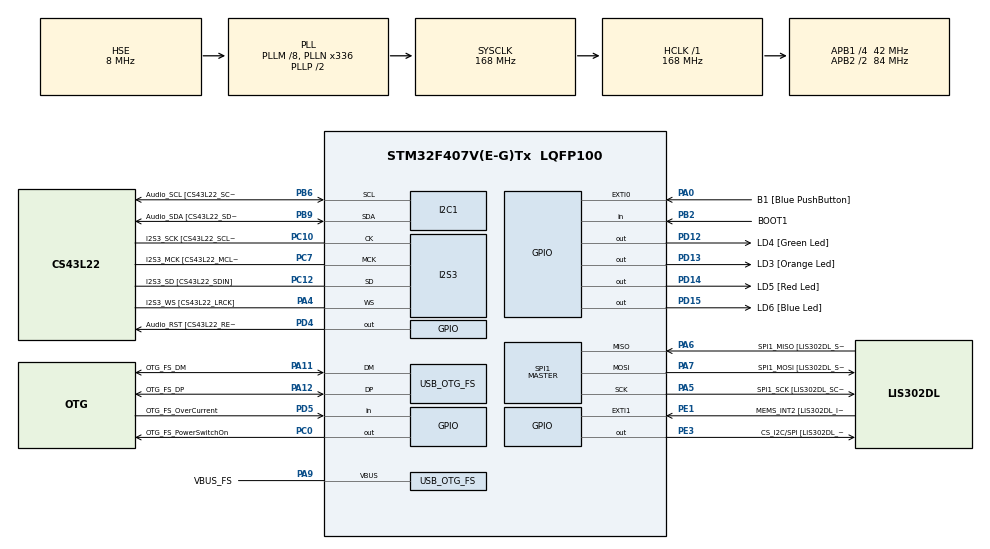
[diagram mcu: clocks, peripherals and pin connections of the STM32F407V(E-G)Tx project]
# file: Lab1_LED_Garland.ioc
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I2S3.AudioFreq-Half_Duplex_Master=I2S_AUDIOFREQ_96K
I2S3.ErrorAudioFreq=-2.34 %
I2S3.ErrorAudioFreq-Half_Duplex_Master=0.8 %
I2S3.FullDuplexMode=I2S_FULLDUPLEXMODE_DISABLE
I2S3.Instance=SPI$Index
I2S3.RealAudioFreq=93.75 KHz
I2S3.RealAudioFreq-Half_Duplex_Master=96.774 KHz
I2S3.VirtualMode=I2S_MODE_MASTER
Mcu.Family=STM32F4
Mcu.Name=STM32F407V(E-G)Tx
Mcu.Package=LQFP100
NVIC.OTG_FS_IRQn=true\:0\:0\:false\:false\:true\:true\:true\:true
NVIC.PriorityGroup=NVIC_PRIORITYGROUP_0
PA0-WKUP.GPIO_Label=B1 [Blue PushButton]
PA0-WKUP.GPIO_ModeDefaultEXTI=GPIO_MODE_EVT_RISING
PA0-WKUP.GPIO_PuPd=GPIO_NOPULL
PA0-WKUP.Signal=GPXTI0
PA10.GPIO_Label=OTG_FS_ID
PA10.GPIO_Mode=GPIO_MODE_AF_PP
PA10.GPIO_PuPd=GPIO_NOPULL
PA10.GPIO_Speed=GPIO_SPEED_FREQ_LOW
PA10.Signal=USB_OTG_FS_ID
PA11.GPIO_Label=OTG_FS_DM
PA11.GPIO_Mode=GPIO_MODE_AF_PP
PA11.GPIO_PuPd=GPIO_NOPULL
PA11.GPIO_Speed=GPIO_SPEED_FREQ_LOW
PA11.Mode=Host_Only
PA11.Signal=USB_OTG_FS_DM
PA12.GPIO_Label=OTG_FS_DP
PA12.GPIO_Mode=GPIO_MODE_AF_PP
PA12.GPIO_PuPd=GPIO_NOPULL
PA12.GPIO_Speed=GPIO_SPEED_FREQ_LOW
PA12.Mode=Host_Only
PA12.Signal=USB_OTG_FS_DP
PA13.GPIO_Label=SWDIO
PA13.Mode=Serial_Wire
PA13.Signal=SYS_JTMS-SWDIO
PA14.GPIO_Label=SWCLK
PA14.Mode=Serial_Wire
PA14.Signal=SYS_JTCK-SWCLK
PA4.GPIO_Label=I2S3_WS [CS43L22_LRCK]
PA4.GPIO_Mode=GPIO_MODE_AF_PP
PA4.GPIO_PuPd=GPIO_NOPULL
PA4.GPIO_Speed=GPIO_SPEED_FREQ_LOW
PA4.Mode=Half_Duplex_Master
PA4.Signal=I2S3_WS
PA5.GPIO_Label=SPI1_SCK [LIS302DL_SCL/SPC]
PA5.GPIO_Mode=GPIO_MODE_AF_PP
PA5.GPIO_PuPd=GPIO_NOPULL
PA5.GPIO_Speed=GPIO_SPEED_FREQ_LOW
PA5.Mode=Full_Duplex_Master
PA5.Signal=SPI1_SCK
PA6.GPIO_Label=SPI1_MISO [LIS302DL_SDO]
PA6.GPIO_Mode=GPIO_MODE_AF_PP
PA6.GPIO_PuPd=GPIO_NOPULL
PA6.GPIO_Speed=GPIO_SPEED_FREQ_LOW
PA6.Mode=Full_Duplex_Master
PA6.Signal=SPI1_MISO
PA7.GPIO_Label=SPI1_MOSI [LIS302DL_SDA/SDI/SDO]
PA7.GPIO_Mode=GPIO_MODE_AF_PP
PA7.GPIO_PuPd=GPIO_NOPULL
PA7.GPIO_Speed=GPIO_SPEED_FREQ_LOW
PA7.Mode=Full_Duplex_Master
PA7.Signal=SPI1_MOSI
PA9.GPIO_Label=VBUS_FS
PA9.GPIO_Mode=GPIO_MODE_INPUT
PA9.GPIO_PuPd=GPIO_NOPULL
PA9.Mode=Activate_VBUS
PA9.Signal=USB_OTG_FS_VBUS
PB10.GPIO_Label=CLK_IN [MP45DT02_CLK]
PB10.GPIO_Mode=GPIO_MODE_AF_PP
PB10.GPIO_PuPd=GPIO_NOPULL
PB10.GPIO_Speed=GPIO_SPEED_FREQ_LOW
PB10.Signal=I2S2_CK
PB2.GPIO_Label=BOOT1
PB2.GPIO_Mode=GPIO_MODE_INPUT
PB2.GPIO_PuPd=GPIO_NOPULL
PB2.Signal=GPIO_Input
PB3.GPIO_Label=SWO
PB3.Signal=SYS_JTDO-SWO
PB6.GPIO_Label=Audio_SCL [CS43L22_SCL]
PB6.GPIO_Mode=GPIO_MODE_AF_OD
PB6.GPIO_Pu=GPIO_PULLUP
PB6.GPIO_PuPd=GPIO_NOPULL
PB6.GPIO_Speed=GPIO_SPEED_FREQ_LOW
PB6.Mode=I2C
PB6.Signal=I2C1_SCL
PB9.GPIO_Label=Audio_SDA [CS43L22_SDA]
PB9.GPIO_Mode=GPIO_MODE_AF_OD
PB9.GPIO_Pu=GPIO_PULLUP
PB9.GPIO_PuPd=GPIO_NOPULL
PB9.GPIO_Speed=GPIO_SPEED_FREQ_LOW
PB9.Mode=I2C
PB9.Signal=I2C1_SDA
PC0.GPIO_Label=OTG_FS_PowerSwitchOn
PC0.GPIO_PuPd=GPIO_NOPULL
PC0.GPIO_Speed=GPIO_SPEED_FREQ_LOW
PC0.PinState=GPIO_PIN_SET
PC0.Signal=GPIO_Output
PC10.GPIO_Label=I2S3_SCK [CS43L22_SCLK]
PC10.GPIO_Mode=GPIO_MODE_AF_PP
PC10.GPIO_PuPd=GPIO_NOPULL
PC10.GPIO_Speed=GPIO_SPEED_FREQ_LOW
PC10.Mode=Half_Duplex_Master
PC10.Signal=I2S3_CK
PC12.GPIO_Label=I2S3_SD [CS43L22_SDIN]
PC12.GPIO_Mode=GPIO_MODE_AF_PP
PC12.GPIO_PuPd=GPIO_NOPULL
PC12.GPIO_Speed=GPIO_SPEED_FREQ_LOW
PC12.Mode=Half_Duplex_Master
PC12.Signal=I2S3_SD
PC14-OSC32_IN.GPIO_Label=PC14-OSC32_IN
PC14-OSC32_IN.Mode=LSE-External-Oscillator
PC14-OSC32_IN.Signal=RCC_OSC32_IN
PC15-OSC32_OUT.GPIO_Label=PC15-OSC32_OUT
PC15-OSC32_OUT.Mode=LSE-External-Oscillator
PC15-OSC32_OUT.Signal=RCC_OSC32_OUT
PC3.GPIO_Label=PDM_OUT [MP45DT02_DOUT]
PC3.GPIO_Mode=GPIO_MODE_AF_PP
PC3.GPIO_PuPd=GPIO_NOPULL
PC3.GPIO_Speed=GPIO_SPEED_FREQ_LOW
PC3.Signal=I2S2_SD
PC7.GPIO_Label=I2S3_MCK [CS43L22_MCLK]
PC7.GPIO_Mode=GPIO_MODE_AF_PP
PC7.GPIO_PuPd=GPIO_NOPULL
PC7.GPIO_Speed=GPIO_SPEED_FREQ_LOW
PC7.Mode=Master_Clock_Activated
PC7.Signal=I2S3_MCK
PD12.GPIO_Label=LD4 [Green Led]
PD12.GPIO_PuPd=GPIO_NOPULL
PD12.GPIO_Speed=GPIO_SPEED_FREQ_LOW
PD12.Signal=GPIO_Output
PD13.GPIO_Label=LD3 [Orange Led]
PD13.GPIO_PuPd=GPIO_NOPULL
PD13.GPIO_Speed=GPIO_SPEED_FREQ_LOW
PD13.Signal=GPIO_Output
PD14.GPIO_Label=LD5 [Red Led]
PD14.GPIO_PuPd=GPIO_NOPULL
PD14.GPIO_Speed=GPIO_SPEED_FREQ_LOW
PD14.Signal=GPIO_Output
PD15.GPIO_Label=LD6 [Blue Led]
PD15.GPIO_PuPd=GPIO_NOPULL
PD15.GPIO_Speed=GPIO_SPEED_FREQ_LOW
PD15.Signal=GPIO_Output
PD4.GPIO_Label=Audio_RST [CS43L22_RESET]
PD4.GPIO_PuPd=GPIO_NOPULL
PD4.GPIO_Speed=GPIO_SPEED_FREQ_LOW
PD4.Signal=GPIO_Output
PD5.GPIO_Label=OTG_FS_OverCurrent
PD5.GPIO_Mode=GPIO_MODE_INPUT
PD5.GPIO_PuPd=GPIO_NOPULL
PD5.Signal=GPIO_Input
PE1.GPIO_Label=MEMS_INT2 [LIS302DL_INT2]
PE1.GPIO_ModeDefaultEXTI=GPIO_MODE_EVT_RISING
PE1.GPIO_PuPd=GPIO_NOPULL
PE1.Signal=GPXTI1
PE3.GPIO_Label=CS_I2C/SPI [LIS302DL_CS_I2C/SPI]
PE3.GPIO_PuPd=GPIO_NOPULL
PE3.GPIO_Speed=GPIO_SPEED_FREQ_LOW
PE3.Signal=GPIO_Output
PH0-OSC_IN.GPIO_Label=PH0-OSC_IN
PH0-OSC_IN.Mode=HSE-External-Oscillator
PH0-OSC_IN.Signal=RCC_OSC_IN
PH1-OSC_OUT.GPIO_Label=PH1-OSC_OUT
PH1-OSC_OUT.Mode=HSE-External-Oscillator
PH1-OSC_OUT.Signal=RCC_OSC_OUT
ProjectManager.HeapSize=0x200
ProjectManager.StackSize=0x400
ProjectManager.TargetToolchain=STM32CubeIDE
RCC.48MHZClocksFreq_Value=48000000
RCC.AHBFreq_Value=168000000
RCC.APB1CLKDivider=RCC_HCLK_DIV4
RCC.APB1Freq_Value=42000000
RCC.APB1TimFreq_Value=84000000
RCC.APB2CLKDivider=RCC_HCLK_DIV2
RCC.APB2Freq_Value=84000000
RCC.APB2TimFreq_Value=168000000
RCC.CortexFreq_Value=168000000
RCC.HCLKFreq_Value=168000000
RCC.HSE_VALUE=8000000
RCC.HSI_VALUE=16000000
RCC.PLLM=8
RCC.PLLN=336
RCC.PLLQ=7
RCC.SYSCLKFreq_VALUE=168000000
RCC.SYSCLKSource=RCC_SYSCLKSOURCE_PLLCLK
RCC.VCOOutputFreq_Value=336000000
SPI1.BaudRatePrescaler-Full_Duplex_Master=SPI_BAUDRATEPRESCALER_2
SPI1.CalculateBaudRate-Full_Duplex_Master=42.0 MBits/s
SPI1.Direction=SPI_DIRECTION_2LINES
SPI1.Mode=SPI_MODE_MASTER
SPI1.Mode-Full_Duplex_Master=SPI_MODE_MASTER
SPI1.VirtualType=VM_MASTER
USB_HOST.BSP.number=1
USB_HOST.USBH_HandleTypeDef-CDC_FS=hUsbHostFS
USB_HOST.VirtualModeFS=Cdc
USB_HOST0.BSP.STBoard=false
USB_HOST0.BSP.api=Unknown
USB_HOST0.BSP.instance=PC0
USB_HOST0.BSP.ip=GPIO
USB_HOST0.BSP.mode=Output
USB_HOST0.BSP.name=Drive_VBUS_FS
USB_HOST0.BSP.solution=PC0
USB_OTG_FS.VirtualMode=Host_Only
USB_OTG_FS.phy_itface=HCD_PHY_EMBEDDED
VP_USB_HOST_VS_USB_HOST_CDC_FS.Mode=CDC_FS
board=STM32F407G-DISC1

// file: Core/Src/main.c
/* USER CODE BEGIN Header */
/**
  ******************************************************************************
  * @file           : main.c
  * @brief          : Main program body
  ******************************************************************************
  * @attention
  *
  * Copyright (c) 2026 STMicroelectronics.
  * All rights reserved.
  *
  * This software is licensed under terms that can be found in the LICENSE file
  * in the root directory of this software component.
  * If no LICENSE file comes with this software, it is provided AS-IS.
  *
  ******************************************************************************
  */
/* USER CODE END Header */
#include "main.h"
#include "usb_host.h"

I2C_HandleTypeDef hi2c1;

I2S_HandleTypeDef hi2s3;

SPI_HandleTypeDef hspi1;

void SystemClock_Config(void);
static void MX_GPIO_Init(void);
static void MX_I2C1_Init(void);
static void MX_I2S3_Init(void);
static void MX_SPI1_Init(void);
void MX_USB_HOST_Process(void);

int main(void)
{

  /* MCU Configuration--------------------------------------------------------*/

  /* Reset of all peripherals, Initializes the Flash interface and the Systick. */
  HAL_Init();

  /* Configure the system clock */
  SystemClock_Config();

  /* Initialize all configured peripherals */
  MX_GPIO_Init();
  MX_I2C1_Init();
  MX_I2S3_Init();
  MX_SPI1_Init();
  MX_USB_HOST_Init();

  /* Infinite loop */
  while (1)
  {
    MX_USB_HOST_Process();

    /* USER CODE BEGIN 3 */

    const uint16_t leds[] = {
        GPIO_PIN_12,  // Green
        GPIO_PIN_13,  // Orange
        GPIO_PIN_14,  // Red
        GPIO_PIN_15   // Blue
    };

    const uint16_t all_leds =
        GPIO_PIN_12 | GPIO_PIN_13 |
        GPIO_PIN_14 | GPIO_PIN_15;

    for (int i = 0; i < 4; i++)
    {
        HAL_GPIO_WritePin(GPIOD, all_leds, GPIO_PIN_RESET);
        HAL_GPIO_WritePin(GPIOD, leds[i], GPIO_PIN_SET);
        HAL_Delay(250);
    }

    for (int i = 2; i >= 1; i--)
    {
        HAL_GPIO_WritePin(GPIOD, all_leds, GPIO_PIN_RESET);
        HAL_GPIO_WritePin(GPIOD, leds[i], GPIO_PIN_SET);
        HAL_Delay(250);
    }

    HAL_GPIO_WritePin(GPIOD, all_leds, GPIO_PIN_SET);
    HAL_Delay(400);

    HAL_GPIO_WritePin(GPIOD, all_leds, GPIO_PIN_RESET);
    HAL_Delay(250);
  }
  /* USER CODE END 3 */
}

void SystemClock_Config(void)
{
  RCC_OscInitTypeDef RCC_OscInitStruct = {0};
  RCC_ClkInitTypeDef RCC_ClkInitStruct = {0};

  /** Configure the main internal regulator output voltage
  */
  __HAL_RCC_PWR_CLK_ENABLE();
  __HAL_PWR_VOLTAGESCALING_CONFIG(PWR_REGULATOR_VOLTAGE_SCALE1);

  /** Initializes the RCC Oscillators according to the specified parameters
  * in the RCC_OscInitTypeDef structure.
  */
  RCC_OscInitStruct.OscillatorType = RCC_OSCILLATORTYPE_HSE;
  RCC_OscInitStruct.HSEState = RCC_HSE_ON;
  RCC_OscInitStruct.PLL.PLLState = RCC_PLL_ON;
  RCC_OscInitStruct.PLL.PLLSource = RCC_PLLSOURCE_HSE;
  RCC_OscInitStruct.PLL.PLLM = 8;
  RCC_OscInitStruct.PLL.PLLN = 336;
  RCC_OscInitStruct.PLL.PLLP = RCC_PLLP_DIV2;
  RCC_OscInitStruct.PLL.PLLQ = 7;
  if (HAL_RCC_OscConfig(&RCC_OscInitStruct) != HAL_OK)
  {
    Error_Handler();
  }

  /** Initializes the CPU, AHB and APB buses clocks
  */
  RCC_ClkInitStruct.ClockType = RCC_CLOCKTYPE_HCLK|RCC_CLOCKTYPE_SYSCLK
                              |RCC_CLOCKTYPE_PCLK1|RCC_CLOCKTYPE_PCLK2;
  RCC_ClkInitStruct.SYSCLKSource = RCC_SYSCLKSOURCE_PLLCLK;
  RCC_ClkInitStruct.AHBCLKDivider = RCC_SYSCLK_DIV1;
  RCC_ClkInitStruct.APB1CLKDivider = RCC_HCLK_DIV4;
  RCC_ClkInitStruct.APB2CLKDivider = RCC_HCLK_DIV2;

  if (HAL_RCC_ClockConfig(&RCC_ClkInitStruct, FLASH_LATENCY_5) != HAL_OK)
  {
    Error_Handler();
  }
}

static void MX_I2C1_Init(void)
{

  hi2c1.Instance = I2C1;
  hi2c1.Init.ClockSpeed = 100000;
  hi2c1.Init.DutyCycle = I2C_DUTYCYCLE_2;
  hi2c1.Init.OwnAddress1 = 0;
  hi2c1.Init.AddressingMode = I2C_ADDRESSINGMODE_7BIT;
  hi2c1.Init.DualAddressMode = I2C_DUALADDRESS_DISABLE;
  hi2c1.Init.OwnAddress2 = 0;
  hi2c1.Init.GeneralCallMode = I2C_GENERALCALL_DISABLE;
  hi2c1.Init.NoStretchMode = I2C_NOSTRETCH_DISABLE;
  if (HAL_I2C_Init(&hi2c1) != HAL_OK)
  {
    Error_Handler();
  }

}

static void MX_I2S3_Init(void)
{

  hi2s3.Instance = SPI3;
  hi2s3.Init.Mode = I2S_MODE_MASTER_TX;
  hi2s3.Init.Standard = I2S_STANDARD_PHILIPS;
  hi2s3.Init.DataFormat = I2S_DATAFORMAT_16B;
  hi2s3.Init.MCLKOutput = I2S_MCLKOUTPUT_ENABLE;
  hi2s3.Init.AudioFreq = I2S_AUDIOFREQ_96K;
  hi2s3.Init.CPOL = I2S_CPOL_LOW;
  hi2s3.Init.ClockSource = I2S_CLOCK_PLL;
  hi2s3.Init.FullDuplexMode = I2S_FULLDUPLEXMODE_DISABLE;
  if (HAL_I2S_Init(&hi2s3) != HAL_OK)
  {
    Error_Handler();
  }

}

static void MX_SPI1_Init(void)
{

  /* SPI1 parameter configuration*/
  hspi1.Instance = SPI1;
  hspi1.Init.Mode = SPI_MODE_MASTER;
  hspi1.Init.Direction = SPI_DIRECTION_2LINES;
  hspi1.Init.DataSize = SPI_DATASIZE_8BIT;
  hspi1.Init.CLKPolarity = SPI_POLARITY_LOW;
  hspi1.Init.CLKPhase = SPI_PHASE_1EDGE;
  hspi1.Init.NSS = SPI_NSS_SOFT;
  hspi1.Init.BaudRatePrescaler = SPI_BAUDRATEPRESCALER_2;
  hspi1.Init.FirstBit = SPI_FIRSTBIT_MSB;
  hspi1.Init.TIMode = SPI_TIMODE_DISABLE;
  hspi1.Init.CRCCalculation = SPI_CRCCALCULATION_DISABLE;
  hspi1.Init.CRCPolynomial = 10;
  if (HAL_SPI_Init(&hspi1) != HAL_OK)
  {
    Error_Handler();
  }

}

static void MX_GPIO_Init(void)
{
  GPIO_InitTypeDef GPIO_InitStruct = {0};

  /* GPIO Ports Clock Enable */
  __HAL_RCC_GPIOE_CLK_ENABLE();
  __HAL_RCC_GPIOC_CLK_ENABLE();
  __HAL_RCC_GPIOH_CLK_ENABLE();
  __HAL_RCC_GPIOA_CLK_ENABLE();
  __HAL_RCC_GPIOB_CLK_ENABLE();
  __HAL_RCC_GPIOD_CLK_ENABLE();

  /*Configure GPIO pin Output Level */
  HAL_GPIO_WritePin(CS_I2C_SPI_GPIO_Port, CS_I2C_SPI_Pin, GPIO_PIN_RESET);

  /*Configure GPIO pin Output Level */
  HAL_GPIO_WritePin(OTG_FS_PowerSwitchOn_GPIO_Port, OTG_FS_PowerSwitchOn_Pin, GPIO_PIN_SET);

  /*Configure GPIO pin Output Level */
  HAL_GPIO_WritePin(GPIOD, LD4_Pin|LD3_Pin|LD5_Pin|LD6_Pin
                          |Audio_RST_Pin, GPIO_PIN_RESET);

  /*Configure GPIO pin : CS_I2C_SPI_Pin */
  GPIO_InitStruct.Pin = CS_I2C_SPI_Pin;
  GPIO_InitStruct.Mode = GPIO_MODE_OUTPUT_PP;
  GPIO_InitStruct.Pull = GPIO_NOPULL;
  GPIO_InitStruct.Speed = GPIO_SPEED_FREQ_LOW;
  HAL_GPIO_Init(CS_I2C_SPI_GPIO_Port, &GPIO_InitStruct);

  /*Configure GPIO pin : OTG_FS_PowerSwitchOn_Pin */
  GPIO_InitStruct.Pin = OTG_FS_PowerSwitchOn_Pin;
  GPIO_InitStruct.Mode = GPIO_MODE_OUTPUT_PP;
  GPIO_InitStruct.Pull = GPIO_NOPULL;
  GPIO_InitStruct.Speed = GPIO_SPEED_FREQ_LOW;
  HAL_GPIO_Init(OTG_FS_PowerSwitchOn_GPIO_Port, &GPIO_InitStruct);

  /*Configure GPIO pin : PDM_OUT_Pin */
  GPIO_InitStruct.Pin = PDM_OUT_Pin;
  GPIO_InitStruct.Mode = GPIO_MODE_AF_PP;
  GPIO_InitStruct.Pull = GPIO_NOPULL;
  GPIO_InitStruct.Speed = GPIO_SPEED_FREQ_LOW;
  GPIO_InitStruct.Alternate = GPIO_AF5_SPI2;
  HAL_GPIO_Init(PDM_OUT_GPIO_Port, &GPIO_InitStruct);

  /*Configure GPIO pin : B1_Pin */
  GPIO_InitStruct.Pin = B1_Pin;
  GPIO_InitStruct.Mode = GPIO_MODE_EVT_RISING;
  GPIO_InitStruct.Pull = GPIO_NOPULL;
  HAL_GPIO_Init(B1_GPIO_Port, &GPIO_InitStruct);

  /*Configure GPIO pin : BOOT1_Pin */
  GPIO_InitStruct.Pin = BOOT1_Pin;
  GPIO_InitStruct.Mode = GPIO_MODE_INPUT;
  GPIO_InitStruct.Pull = GPIO_NOPULL;
  HAL_GPIO_Init(BOOT1_GPIO_Port, &GPIO_InitStruct);

  /*Configure GPIO pin : CLK_IN_Pin */
  GPIO_InitStruct.Pin = CLK_IN_Pin;
  GPIO_InitStruct.Mode = GPIO_MODE_AF_PP;
  GPIO_InitStruct.Pull = GPIO_NOPULL;
  GPIO_InitStruct.Speed = GPIO_SPEED_FREQ_LOW;
  GPIO_InitStruct.Alternate = GPIO_AF5_SPI2;
  HAL_GPIO_Init(CLK_IN_GPIO_Port, &GPIO_InitStruct);

  /*Configure GPIO pins : LD4_Pin LD3_Pin LD5_Pin LD6_Pin
                           Audio_RST_Pin */
  GPIO_InitStruct.Pin = LD4_Pin|LD3_Pin|LD5_Pin|LD6_Pin
                          |Audio_RST_Pin;
  GPIO_InitStruct.Mode = GPIO_MODE_OUTPUT_PP;
  GPIO_InitStruct.Pull = GPIO_NOPULL;
  GPIO_InitStruct.Speed = GPIO_SPEED_FREQ_LOW;
  HAL_GPIO_Init(GPIOD, &GPIO_InitStruct);

  /*Configure GPIO pin : OTG_FS_OverCurrent_Pin */
  GPIO_InitStruct.Pin = OTG_FS_OverCurrent_Pin;
  GPIO_InitStruct.Mode = GPIO_MODE_INPUT;
  GPIO_InitStruct.Pull = GPIO_NOPULL;
  HAL_GPIO_Init(OTG_FS_OverCurrent_GPIO_Port, &GPIO_InitStruct);

  /*Configure GPIO pin : MEMS_INT2_Pin */
  GPIO_InitStruct.Pin = MEMS_INT2_Pin;
  GPIO_InitStruct.Mode = GPIO_MODE_EVT_RISING;
  GPIO_InitStruct.Pull = GPIO_NOPULL;
  HAL_GPIO_Init(MEMS_INT2_GPIO_Port, &GPIO_InitStruct);

}

void Error_Handler(void)
{
  __disable_irq();
  while (1)
  {
  }
}
